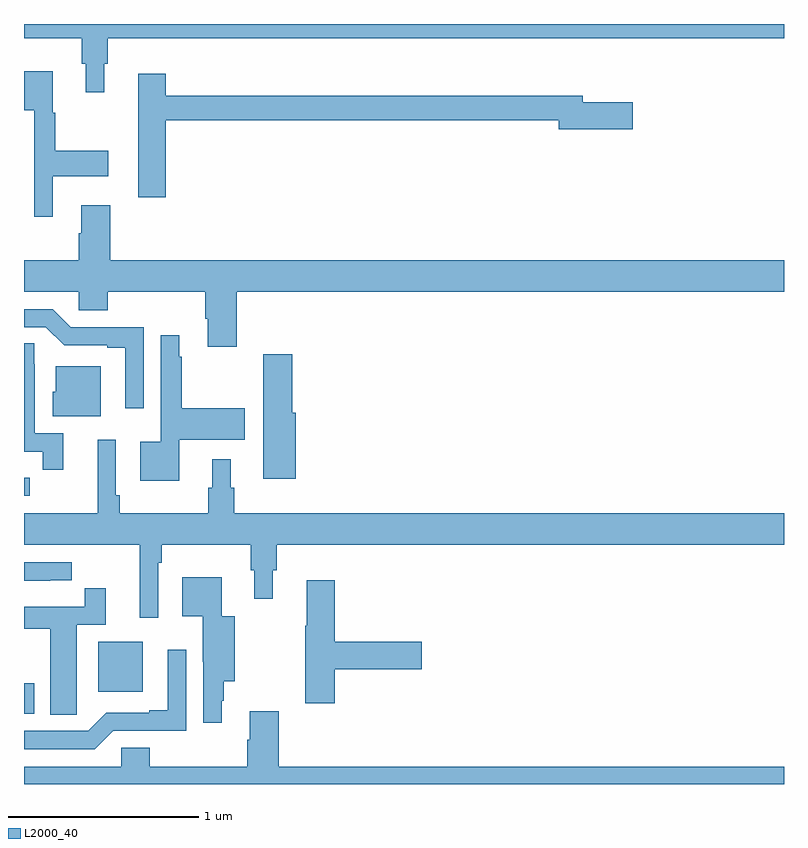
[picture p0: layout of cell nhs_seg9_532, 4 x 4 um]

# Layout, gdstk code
import gdstk
lib = gdstk.Library(unit=1e-6, precision=1e-09)
def R(c, l, rs):  # rectangles x0, y0, x1, y1
    for r in rs: c.add(gdstk.rectangle(r[:2], r[2:], *l))
def P(c, l, *ps):  # polygons
    for p in ps: c.add(gdstk.Polygon(p, *l))
L2000_40 = (2000, 40)

nhs_seg9_532 = lib.new_cell('nhs_seg9_532')
R(nhs_seg9_532, L2000_40, [(137,1188.869,137.053,1189.029), (137.39,1188.986,137.626,1189.249), (137,1190.016,137.029,1190.112)])
P(nhs_seg9_532, L2000_40, [(137.422,1192.29),(137.441,1192.29),(137.441,1192.424),(141,1192.424),(141,1192.5),(137,1192.5),(137,1192.424),(137.305,1192.424),(137.305,1192.29),(137.324,1192.29),(137.324,1192.14),(137.422,1192.14)],
  [(137.152,1191.698),(137.443,1191.698),(137.443,1191.833),(137.164,1191.833),(137.164,1192.032),(137.152,1192.032),(137.152,1192.252),(137,1192.252),(137,1192.046),(137.055,1192.046),(137.055,1191.486),(137.152,1191.486)],
  [(137.747,1191.994),(139.814,1191.994),(139.814,1191.947),(140.203,1191.947),(140.203,1192.089),(139.942,1192.089),(139.942,1192.123),(137.747,1192.123),(137.747,1192.237),(137.6,1192.237),(137.6,1191.588),(137.747,1191.588)],
  [(138.119,1191.092),(141,1191.092),(141,1191.256),(137.453,1191.256),(137.453,1191.547),(137.3,1191.547),(137.3,1191.398),(137.288,1191.398),(137.288,1191.256),(137,1191.256),(137,1191.092),(137.289,1191.092),(137.289,1190.994),(137.441,1190.994),(137.441,1191.092),(137.954,1191.092),(137.954,1190.95),(137.966,1190.95),(137.966,1190.802),(138.119,1190.802)],
  [(137.631,1190.904),(137.247,1190.904),(137.151,1191),(137,1191),(137,1190.904),(137.115,1190.904),(137.211,1190.808),(137.438,1190.808),(137.438,1190.796),(137.534,1190.796),(137.534,1190.478),(137.631,1190.478)],
  [(137.818,1190.312),(138.163,1190.312),(138.163,1190.478),(137.83,1190.478),(137.83,1190.75),(137.818,1190.75),(137.818,1190.863),(137.721,1190.863),(137.721,1190.302),(137.612,1190.302),(137.612,1190.096),(137.818,1190.096)],
  [(137.207,1190.346),(137.056,1190.346),(137.056,1190.708),(137.055,1190.708),(137.055,1190.819),(137,1190.819),(137,1190.25),(137.098,1190.25),(137.098,1190.154),(137.207,1190.154)],
  [(138.431,1190.454),(138.413,1190.454),(138.413,1190.761),(138.259,1190.761),(138.259,1190.566),(138.26,1190.566),(138.26,1190.106),(138.431,1190.106)],
  [(137.404,1190.698),(137.168,1190.698),(137.168,1190.565),(137.15,1190.565),(137.15,1190.435),(137.404,1190.435)],
  [(137.706,1189.664),(137.726,1189.664),(137.726,1189.76),(138.193,1189.76),(138.193,1189.626),(138.212,1189.626),(138.212,1189.476),(138.31,1189.476),(138.31,1189.626),(138.329,1189.626),(138.329,1189.76),(141,1189.76),(141,1189.924),(138.107,1189.924),(138.107,1190.058),(138.088,1190.058),(138.088,1190.209),(137.99,1190.209),(137.99,1190.058),(137.971,1190.058),(137.971,1189.924),(137.504,1189.924),(137.504,1190.02),(137.484,1190.02),(137.484,1190.311),(137.387,1190.311),(137.387,1189.924),(137,1189.924),(137,1189.76),(137.609,1189.76),(137.609,1189.374),(137.706,1189.374)],
  [(137.138,1189.572),(137.251,1189.572),(137.251,1189.668),(137,1189.668),(137,1189.571),(137.138,1189.571)],
  [(138.04,1188.939),(138.052,1188.939),(138.052,1189.04),(138.108,1189.04),(138.108,1189.384),(138.04,1189.384),(138.04,1189.588),(137.834,1189.588),(137.834,1189.382),(137.942,1189.382),(137.942,1189.144),(137.943,1189.144),(137.943,1188.822),(138.04,1188.822)],
  [(138.635,1189.103),(139.093,1189.103),(139.093,1189.25),(138.635,1189.25),(138.635,1189.573),(138.488,1189.573),(138.488,1189.333),(138.481,1189.333),(138.481,1188.924),(138.635,1188.924)],
  [(137.277,1188.976),(137.278,1188.976),(137.278,1189.338),(137.429,1189.338),(137.429,1189.531),(137.32,1189.531),(137.32,1189.434),(137,1189.434),(137,1189.318),(137.138,1189.318),(137.138,1188.865),(137.277,1188.865)],
  [(137.469,1188.78),(137.853,1188.78),(137.853,1189.207),(137.756,1189.207),(137.756,1188.889),(137.66,1188.889),(137.66,1188.876),(137.433,1188.876),(137.337,1188.78),(137,1188.78),(137,1188.684),(137.373,1188.684)],
  [(141,1188.592),(138.341,1188.592),(138.341,1188.883),(138.188,1188.883),(138.188,1188.734),(138.176,1188.734),(138.176,1188.592),(137.663,1188.592),(137.663,1188.69),(137.511,1188.69),(137.511,1188.592),(137,1188.592),(137,1188.5),(141,1188.5)])

lib.write_gds('nhs_seg9_532.gds')
